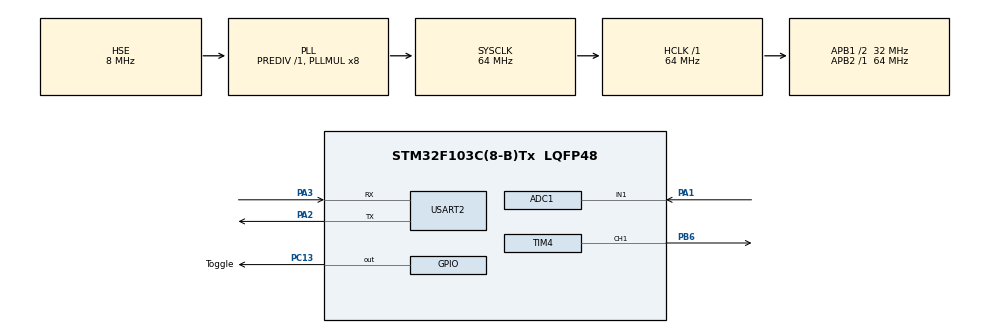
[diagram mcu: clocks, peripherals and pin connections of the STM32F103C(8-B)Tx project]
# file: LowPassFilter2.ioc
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ADC1.Channel-0\#ChannelRegularConversion=ADC_CHANNEL_1
ADC1.ContinuousConvMode=ENABLE
ADC1.NbrOfConversionFlag=1
ADC1.Rank-0\#ChannelRegularConversion=1
ADC1.SamplingTime-0\#ChannelRegularConversion=ADC_SAMPLETIME_239CYCLES_5
ADC1.master=1
Mcu.Family=STM32F1
Mcu.Name=STM32F103C(8-B)Tx
Mcu.Package=LQFP48
NVIC.ADC1_2_IRQn=true\:0\:0\:false\:false\:true\:true\:true
NVIC.PriorityGroup=NVIC_PRIORITYGROUP_4
NVIC.USART2_IRQn=true\:0\:0\:false\:false\:true\:true\:true
PA1.Signal=ADCx_IN1
PA2.Mode=Asynchronous
PA2.Signal=USART2_TX
PA3.Mode=Asynchronous
PA3.Signal=USART2_RX
PB6.Signal=S_TIM4_CH1
PC13-TAMPER-RTC.GPIO_Label=Toggle
PC13-TAMPER-RTC.Signal=GPIO_Output
PD0-OSC_IN.Mode=HSE-External-Oscillator
PD0-OSC_IN.Signal=RCC_OSC_IN
PD1-OSC_OUT.Mode=HSE-External-Oscillator
PD1-OSC_OUT.Signal=RCC_OSC_OUT
ProjectManager.HeapSize=0x200
ProjectManager.StackSize=0x400
ProjectManager.TargetToolchain=STM32CubeIDE
RCC.ADCPresc=RCC_ADCPCLK2_DIV8
RCC.AHBFreq_Value=64000000
RCC.APB1CLKDivider=RCC_HCLK_DIV2
RCC.APB1Freq_Value=32000000
RCC.APB1TimFreq_Value=64000000
RCC.APB2Freq_Value=64000000
RCC.APB2TimFreq_Value=64000000
RCC.HCLKFreq_Value=64000000
RCC.PLLMUL=RCC_PLL_MUL8
RCC.PLLSourceVirtual=RCC_PLLSOURCE_HSE
RCC.SYSCLKFreq_VALUE=64000000
RCC.SYSCLKSource=RCC_SYSCLKSOURCE_PLLCLK
RCC.USBFreq_Value=64000000
SH.ADCx_IN1.0=ADC1_IN1,IN1
SH.S_TIM4_CH1.0=TIM4_CH1,PWM Generation1 CH1
TIM4.Channel-PWM\ Generation1\ CH1=TIM_CHANNEL_1
TIM4.Period=4095
USART2.VirtualMode=VM_ASYNC
VP_SYS_VS_ND.Mode=No_Debug
board=custom

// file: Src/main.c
/* USER CODE BEGIN Header */
/**
  ******************************************************************************
  * @file           : main.c
  * @brief          : Main program body
  ******************************************************************************
  * @attention
  *
  * <h2><center>&copy; Copyright (c) 2019 STMicroelectronics.
  * All rights reserved.</center></h2>
  *
  * This software component is licensed by ST under BSD 3-Clause license,
  * the "License"; You may not use this file except in compliance with the
  * License. You may obtain a copy of the License at:
  *                        opensource.org/licenses/BSD-3-Clause
  *
  ******************************************************************************
  */
/* USER CODE END Header */

#include "main.h"

/* USER CODE BEGIN Includes */

#include <math.h>
#include <string.h>
#include <stdio.h>

/* USER CODE END Includes */

/* USER CODE BEGIN PD */

#define DEBUG 0

/* USER CODE END PD */

ADC_HandleTypeDef hadc1;

TIM_HandleTypeDef htim4;

UART_HandleTypeDef huart2;

void SystemClock_Config(void);
static void MX_GPIO_Init(void);
static void MX_USART2_UART_Init(void);
static void MX_ADC1_Init(void);
static void MX_TIM4_Init(void);

/* USER CODE BEGIN 0 */

double prevIn = 0;
double prevOut = 0;

uint16_t iter = 6000;

#define periodOverTau 0.000035/0.003 // ou 292/1000000

#define OneMinusPeriodOverTau 1-periodOverTau

/* USER CODE END 0 */

int main(void)
{

  /* MCU Configuration--------------------------------------------------------*/

  /* Reset of all peripherals, Initializes the Flash interface and the Systick. */
  HAL_Init();

  /* Configure the system clock */
  SystemClock_Config();

  /* Initialize all configured peripherals */
  MX_GPIO_Init();
  MX_USART2_UART_Init();
  MX_ADC1_Init();
  MX_TIM4_Init();
  /* USER CODE BEGIN 2 */

  HAL_UART_Transmit(&huart2, (uint8_t*)"Inicio\r\n", sizeof("Inicio\r\n"), 10);
  /* USER CODE END 2 */

  /* Infinite loop */
  /* USER CODE BEGIN WHILE */

  HAL_ADC_Start_IT(&hadc1);
  while (1)
  {
    /* USER CODE END WHILE */

  }
}

void SystemClock_Config(void)
{
  RCC_OscInitTypeDef RCC_OscInitStruct = {0};
  RCC_ClkInitTypeDef RCC_ClkInitStruct = {0};
  RCC_PeriphCLKInitTypeDef PeriphClkInit = {0};

  /** Initializes the CPU, AHB and APB busses clocks
  */
  RCC_OscInitStruct.OscillatorType = RCC_OSCILLATORTYPE_HSE;
  RCC_OscInitStruct.HSEState = RCC_HSE_ON;
  RCC_OscInitStruct.HSEPredivValue = RCC_HSE_PREDIV_DIV1;
  RCC_OscInitStruct.HSIState = RCC_HSI_ON;
  RCC_OscInitStruct.PLL.PLLState = RCC_PLL_ON;
  RCC_OscInitStruct.PLL.PLLSource = RCC_PLLSOURCE_HSE;
  RCC_OscInitStruct.PLL.PLLMUL = RCC_PLL_MUL8;
  if (HAL_RCC_OscConfig(&RCC_OscInitStruct) != HAL_OK)
  {
    Error_Handler();
  }
  /** Initializes the CPU, AHB and APB busses clocks
  */
  RCC_ClkInitStruct.ClockType = RCC_CLOCKTYPE_HCLK|RCC_CLOCKTYPE_SYSCLK
                              |RCC_CLOCKTYPE_PCLK1|RCC_CLOCKTYPE_PCLK2;
  RCC_ClkInitStruct.SYSCLKSource = RCC_SYSCLKSOURCE_PLLCLK;
  RCC_ClkInitStruct.AHBCLKDivider = RCC_SYSCLK_DIV1;
  RCC_ClkInitStruct.APB1CLKDivider = RCC_HCLK_DIV2;
  RCC_ClkInitStruct.APB2CLKDivider = RCC_HCLK_DIV1;

  if (HAL_RCC_ClockConfig(&RCC_ClkInitStruct, FLASH_LATENCY_2) != HAL_OK)
  {
    Error_Handler();
  }
  PeriphClkInit.PeriphClockSelection = RCC_PERIPHCLK_ADC;
  PeriphClkInit.AdcClockSelection = RCC_ADCPCLK2_DIV8;
  if (HAL_RCCEx_PeriphCLKConfig(&PeriphClkInit) != HAL_OK)
  {
    Error_Handler();
  }
}

static void MX_ADC1_Init(void)
{

  ADC_ChannelConfTypeDef sConfig = {0};

  /** Common config
  */
  hadc1.Instance = ADC1;
  hadc1.Init.ScanConvMode = ADC_SCAN_DISABLE;
  hadc1.Init.ContinuousConvMode = ENABLE;
  hadc1.Init.DiscontinuousConvMode = DISABLE;
  hadc1.Init.ExternalTrigConv = ADC_SOFTWARE_START;
  hadc1.Init.DataAlign = ADC_DATAALIGN_RIGHT;
  hadc1.Init.NbrOfConversion = 1;
  if (HAL_ADC_Init(&hadc1) != HAL_OK)
  {
    Error_Handler();
  }
  /** Configure Regular Channel
  */
  sConfig.Channel = ADC_CHANNEL_1;
  sConfig.Rank = ADC_REGULAR_RANK_1;
  sConfig.SamplingTime = ADC_SAMPLETIME_239CYCLES_5;
  if (HAL_ADC_ConfigChannel(&hadc1, &sConfig) != HAL_OK)
  {
    Error_Handler();
  }
  /* USER CODE BEGIN ADC1_Init 2 */

  HAL_NVIC_SetPriority(ADC1_IRQn, 0, 0);
  HAL_NVIC_EnableIRQ(ADC1_IRQn);

  /* USER CODE END ADC1_Init 2 */

}

static void MX_TIM4_Init(void)
{

  TIM_MasterConfigTypeDef sMasterConfig = {0};
  TIM_OC_InitTypeDef sConfigOC = {0};

  htim4.Instance = TIM4;
  htim4.Init.Prescaler = 0;
  htim4.Init.CounterMode = TIM_COUNTERMODE_UP;
  htim4.Init.Period = 4095;
  htim4.Init.ClockDivision = TIM_CLOCKDIVISION_DIV1;
  htim4.Init.AutoReloadPreload = TIM_AUTORELOAD_PRELOAD_DISABLE;
  if (HAL_TIM_PWM_Init(&htim4) != HAL_OK)
  {
    Error_Handler();
  }
  sMasterConfig.MasterOutputTrigger = TIM_TRGO_RESET;
  sMasterConfig.MasterSlaveMode = TIM_MASTERSLAVEMODE_DISABLE;
  if (HAL_TIMEx_MasterConfigSynchronization(&htim4, &sMasterConfig) != HAL_OK)
  {
    Error_Handler();
  }
  sConfigOC.OCMode = TIM_OCMODE_PWM1;
  sConfigOC.Pulse = 0;
  sConfigOC.OCPolarity = TIM_OCPOLARITY_HIGH;
  sConfigOC.OCFastMode = TIM_OCFAST_DISABLE;
  if (HAL_TIM_PWM_ConfigChannel(&htim4, &sConfigOC, TIM_CHANNEL_1) != HAL_OK)
  {
    Error_Handler();
  }
  /* USER CODE BEGIN TIM4_Init 2 */

  HAL_TIM_PWM_Start(&htim4, TIM_CHANNEL_1);

  /* USER CODE END TIM4_Init 2 */
  HAL_TIM_MspPostInit(&htim4);

}

static void MX_USART2_UART_Init(void)
{

  huart2.Instance = USART2;
  huart2.Init.BaudRate = 115200;
  huart2.Init.WordLength = UART_WORDLENGTH_8B;
  huart2.Init.StopBits = UART_STOPBITS_1;
  huart2.Init.Parity = UART_PARITY_NONE;
  huart2.Init.Mode = UART_MODE_TX_RX;
  huart2.Init.HwFlowCtl = UART_HWCONTROL_NONE;
  huart2.Init.OverSampling = UART_OVERSAMPLING_16;
  if (HAL_UART_Init(&huart2) != HAL_OK)
  {
    Error_Handler();
  }

}

static void MX_GPIO_Init(void)
{
  GPIO_InitTypeDef GPIO_InitStruct = {0};

  /* GPIO Ports Clock Enable */
  __HAL_RCC_GPIOC_CLK_ENABLE();
  __HAL_RCC_GPIOD_CLK_ENABLE();
  __HAL_RCC_GPIOA_CLK_ENABLE();
  __HAL_RCC_GPIOB_CLK_ENABLE();

  /*Configure GPIO pin Output Level */
  HAL_GPIO_WritePin(Toggle_GPIO_Port, Toggle_Pin, GPIO_PIN_RESET);

  /*Configure GPIO pin : Toggle_Pin */
  GPIO_InitStruct.Pin = Toggle_Pin;
  GPIO_InitStruct.Mode = GPIO_MODE_OUTPUT_PP;
  GPIO_InitStruct.Pull = GPIO_NOPULL;
  GPIO_InitStruct.Speed = GPIO_SPEED_FREQ_LOW;
  HAL_GPIO_Init(Toggle_GPIO_Port, &GPIO_InitStruct);

}

/* USER CODE BEGIN 4 */

void ADC_IRQHandler(void) {

	HAL_ADC_IRQHandler(&hadc1);

}

void HAL_ADC_ConvCpltCallback(ADC_HandleTypeDef* hadc) {

	//Frequencia = 189 kHz
	//HAL_GPIO_TogglePin(GPIOA, Toggle_Pin);

//	char prevInStr[10];
//	char aux1Str[10];
//	char aux2Str[10];

	double aux1 = (double)(OneMinusPeriodOverTau) * prevOut;
	double aux2 = (double)(periodOverTau) * prevIn;

	prevOut = aux1 + aux2;

	TIM4->CCR1 = (uint32_t) prevOut;

	if (DEBUG == 1) {
		if (iter > 0) {

			iter--;

			char msg[60];
			char prevOutStr[10];

//			gcvt(prevIn, 4, prevInStr);
//			gcvt(aux1, 4, aux1Str);
//			gcvt(aux2, 4, aux2Str);
			gcvt(prevOut, 8, prevOutStr);

			snprintf(msg, 15, "%s\r\n", prevOutStr);

//			snprintf(msg, 100, "_%s\r\n%s\r\n%s\r\n%s\r\n",
//			prevInStr, aux1Str, aux2Str, prevOutStr);

			HAL_UART_Transmit(&huart2, (uint8_t*) msg, strlen(msg), 200);
		}
	}

	prevIn = (double) HAL_ADC_GetValue(hadc);

}

/* USER CODE END 4 */

void Error_Handler(void)
{
}

/************************ (C) COPYRIGHT STMicroelectronics *****END OF FILE****/
